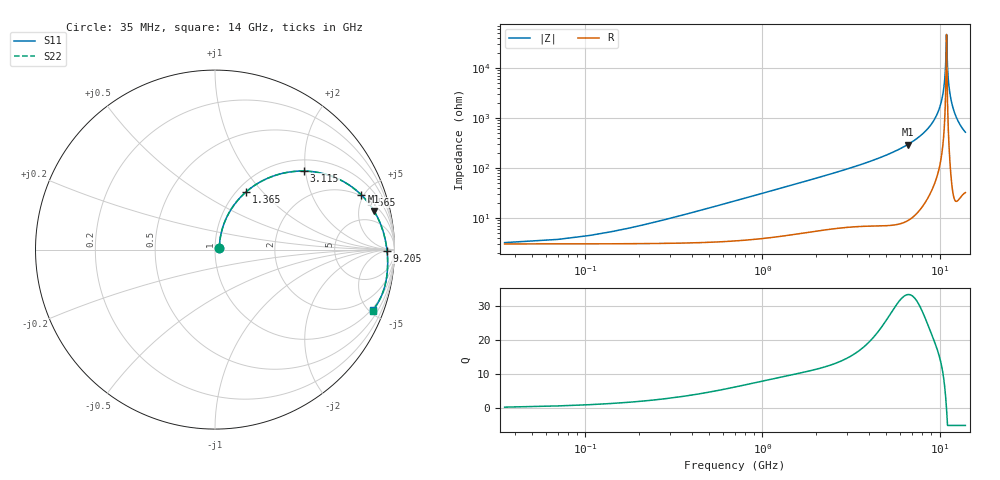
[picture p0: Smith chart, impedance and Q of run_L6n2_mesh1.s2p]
#  Hz  S  RI  R  50
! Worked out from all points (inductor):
!   400 points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, 35 MHz to 14 GHz, reference 50 ohm
!   read as one part in series: L = 4.96 nH near 315 MHz
!   highest Q = 33.3 at 6.615 GHz (marker M1), where L = 7.12 nH
!   self-resonance near 10.92 GHz
!   S11 on the Smith chart (normalised r, x): 35 MHz: 1.05, +0.02; 1.365 GHz: 1.10, +0.81; 3.115 GHz: 1.26, +1.97; 5.565 GHz: 1.90, +4.77; 9.205 GHz: 46, -7; 14 GHz: 0.86, -5.24
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3.5e7  0.0243 0.00989  0.9649 -0.0107  0.9649 -0.0107  0.0243 0.00989
2.45e8  0.0299 0.0688  0.959 -0.0745  0.959 -0.0745  0.0299 0.0687
4.9e8  0.0466 0.1348  0.9412 -0.1461  0.9412 -0.1461  0.0467 0.1348
1.365e9  0.1718 0.3204  0.8097 -0.3476  0.8097 -0.3476  0.1717 0.3203
2.38e9  0.3641 0.4219  0.6107 -0.461  0.6107 -0.461  0.364 0.4217
3.115e9  0.497 0.4376  0.4753 -0.484  0.4753 -0.484  0.4969 0.4374
4.69e9  0.7252 0.3737  0.2451 -0.4371  0.2451 -0.4371  0.7251 0.3735
5.565e9  0.8137 0.3063  0.1558 -0.3802  0.1558 -0.3802  0.8136 0.306
6.615e9  0.8866 0.2144  0.0814 -0.3013  0.0814 -0.3013  0.8864 0.214
7.035e9  0.9071 0.1769  0.0602 -0.269  0.0602 -0.269  0.9069 0.1765
9.205e9  0.9586 -0.00615  0.00477 -0.1124  0.00477 -0.1124  0.9583 -0.00667
9.345e9  0.9597 -0.0172  0.00343 -0.1031  0.00343 -0.1031  0.9594 -0.0177
1.008e10  0.9622 -0.0742  -0.000341 -0.0552  -0.000341 -0.0552  0.9619 -0.0748
1.0535e10  0.9612 -0.1088  -4.78e-05 -0.0263  -4.77e-05 -0.0263  0.9608 -0.1094
1.078e10  0.9597 -0.1273  0.000951 -0.011  0.000951 -0.011  0.9594 -0.1279
1.085e10  0.9592 -0.1326  0.00135 -0.00664  0.00135 -0.00664  0.9588 -0.1331
1.0955e10  0.9583 -0.1404  0.00204 -0.000131  0.00204 -0.000131  0.9579 -0.141
1.106e10  0.9573 -0.1483  0.00284 0.00635  0.00284 0.00635  0.9569 -0.1489
1.12e10  0.9557 -0.1587  0.0041 0.0149  0.0041 0.0149  0.9554 -0.1593
1.169e10  0.9485 -0.1947  0.0102 0.0445  0.0102 0.0445  0.9481 -0.1953
1.26e10  0.9273 -0.2584  0.0289 0.0964  0.0289 0.0964  0.9269 -0.259
1.4e10  0.8795 -0.3391  0.0722 0.1602  0.0722 0.1602  0.8789 -0.3398
